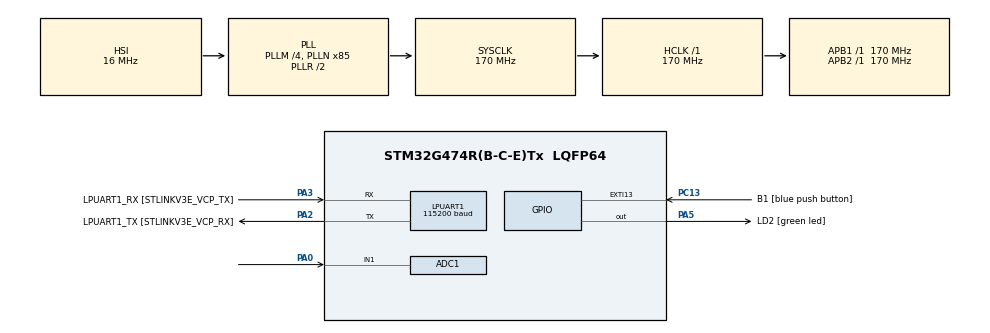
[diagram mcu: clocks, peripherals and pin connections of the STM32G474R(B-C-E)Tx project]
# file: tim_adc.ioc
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ADC1.Channel-0\#ChannelRegularConversion=ADC_CHANNEL_VREFINT
ADC1.Channel-1\#ChannelRegularConversion=ADC_CHANNEL_TEMPSENSOR_ADC1
ADC1.Channel-2\#ChannelRegularConversion=ADC_CHANNEL_1
ADC1.DiscontinuousConvMode=ENABLE
ADC1.EOCSelection=ADC_EOC_SINGLE_CONV
ADC1.ExternalTrigConv=ADC_EXTERNALTRIG_T2_TRGO
ADC1.NbrOfConversion=3
ADC1.NbrOfConversionFlag=1
ADC1.NbrOfDiscConversion=3
ADC1.OffsetNumber-0\#ChannelRegularConversion=ADC_OFFSET_NONE
ADC1.OffsetNumber-1\#ChannelRegularConversion=ADC_OFFSET_NONE
ADC1.OffsetNumber-2\#ChannelRegularConversion=ADC_OFFSET_NONE
ADC1.Rank-0\#ChannelRegularConversion=1
ADC1.Rank-1\#ChannelRegularConversion=2
ADC1.Rank-2\#ChannelRegularConversion=3
ADC1.SamplingTime-0\#ChannelRegularConversion=ADC_SAMPLETIME_6CYCLES_5
ADC1.SamplingTime-1\#ChannelRegularConversion=ADC_SAMPLETIME_2CYCLES_5
ADC1.SamplingTime-2\#ChannelRegularConversion=ADC_SAMPLETIME_2CYCLES_5
ADC1.master=1
LPUART1.BaudRate=115200
LPUART1.WordLength=UART_WORDLENGTH_8B
Mcu.Family=STM32G4
Mcu.Name=STM32G474R(B-C-E)Tx
Mcu.Package=LQFP64
NVIC.ADC1_2_IRQn=true\:0\:0\:false\:false\:true\:true\:true\:true
NVIC.EXTI15_10_IRQn=true\:0\:0\:false\:false\:true\:true\:true\:true
NVIC.PriorityGroup=NVIC_PRIORITYGROUP_4
NVIC.TIM1_UP_TIM16_IRQn=true\:0\:0\:false\:false\:true\:true\:true\:true
NVIC.TIM2_IRQn=true\:0\:0\:false\:false\:true\:true\:true\:true
PA0.Mode=IN1-Single-Ended
PA0.Signal=ADC1_IN1
PA13.GPIO_Label=T_SWDIO
PA13.Mode=Serial_Wire
PA13.Signal=SYS_JTMS-SWDIO
PA14.GPIO_Label=T_SWCLK
PA14.Mode=Serial_Wire
PA14.Signal=SYS_JTCK-SWCLK
PA2.GPIO_Label=LPUART1_TX [STLINKV3E_VCP_RX]
PA2.Mode=Asynchronous
PA2.Signal=LPUART1_TX
PA3.GPIO_Label=LPUART1_RX [STLINKV3E_VCP_TX]
PA3.Mode=Asynchronous
PA3.Signal=LPUART1_RX
PA5.GPIO_Label=LD2 [green led]
PA5.Signal=GPIO_Output
PB3.GPIO_Label=T_SWO
PB3.Signal=SYS_JTDO-SWO
PC13.GPIO_Label=B1 [blue push button]
PC13.Signal=GPXTI13
PC14-OSC32_IN.Mode=LSE-External-Oscillator
PC14-OSC32_IN.Signal=RCC_OSC32_IN
PC15-OSC32_OUT.Mode=LSE-External-Oscillator
PC15-OSC32_OUT.Signal=RCC_OSC32_OUT
PF0-OSC_IN.Mode=HSE-External-Oscillator
PF0-OSC_IN.Signal=RCC_OSC_IN
PF1-OSC_OUT.Mode=HSE-External-Oscillator
PF1-OSC_OUT.Signal=RCC_OSC_OUT
ProjectManager.HeapSize=0x200
ProjectManager.StackSize=0x400
ProjectManager.TargetToolchain=STM32CubeIDE
RCC.ADC12Freq_Value=170000000
RCC.ADC345Freq_Value=170000000
RCC.AHBFreq_Value=170000000
RCC.APB1Freq_Value=170000000
RCC.APB1TimFreq_Value=170000000
RCC.APB2Freq_Value=170000000
RCC.APB2TimFreq_Value=170000000
RCC.CortexFreq_Value=170000000
RCC.EXTERNAL_CLOCK_VALUE=12288000
RCC.HCLKFreq_Value=170000000
RCC.HSE_VALUE=24000000
RCC.HSI48_VALUE=48000000
RCC.HSI_VALUE=16000000
RCC.PLLM=RCC_PLLM_DIV4
RCC.PLLN=85
RCC.RTCClockSelection=RCC_RTCCLKSOURCE_LSE
RCC.SYSCLKFreq_VALUE=170000000
RCC.SYSCLKSource=RCC_SYSCLKSOURCE_PLLCLK
RCC.USBFreq_Value=170000000
RCC.VCOOutputFreq_Value=340000000
TIM1.AutoReloadPreload=TIM_AUTORELOAD_PRELOAD_ENABLE
TIM1.PeriodNoDither=17000
TIM1.Prescaler=10000-1
TIM1.TIM_MasterOutputTrigger=TIM_TRGO_UPDATE
TIM2.AutoReloadPreload=TIM_AUTORELOAD_PRELOAD_ENABLE
TIM2.PeriodNoDither=170000
TIM2.Prescaler=1000-1
TIM2.TIM_MasterOutputTrigger=TIM_TRGO_UPDATE
TIM2.TIM_MasterSlaveMode=TIM_MASTERSLAVEMODE_DISABLE
VP_ADC1_TempSens_Input.Mode=IN-TempSens
VP_ADC1_Vref_Input.Mode=IN-Vrefint
VP_SYS_VS_DBSignals.Mode=DisableDeadBatterySignals
VP_TIM1_VS_ClockSourceINT.Mode=Internal
VP_TIM2_VS_ClockSourceINT.Mode=Internal
board=NUCLEO-G474RE

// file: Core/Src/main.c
/* USER CODE BEGIN Header */
/**
  ******************************************************************************
  * @file           : main.c
  * @brief          : Main program body
  ******************************************************************************
  * @attention
  *
  * Copyright (c) 2023 STMicroelectronics.
  * All rights reserved.
  *
  * This software is licensed under terms that can be found in the LICENSE file
  * in the root directory of this software component.
  * If no LICENSE file comes with this software, it is provided AS-IS.
  *
  ******************************************************************************
  */
/* USER CODE END Header */
#include "main.h"

/* USER CODE BEGIN Includes */
#include <stdio.h>
/* USER CODE END Includes */

ADC_HandleTypeDef hadc1;

UART_HandleTypeDef hlpuart1;

TIM_HandleTypeDef htim1;
TIM_HandleTypeDef htim2;

/* USER CODE BEGIN PV */
char uart_buf[50];
int uart_buf_len;
/* USER CODE END PV */

void SystemClock_Config(void);
static void MX_GPIO_Init(void);
static void MX_LPUART1_UART_Init(void);
static void MX_ADC1_Init(void);
static void MX_TIM2_Init(void);
static void MX_TIM1_Init(void);

int main(void)
{

  /* MCU Configuration--------------------------------------------------------*/

  /* Reset of all peripherals, Initializes the Flash interface and the Systick. */
  HAL_Init();

  /* Configure the system clock */
  SystemClock_Config();

  /* Initialize all configured peripherals */
  MX_GPIO_Init();
  MX_LPUART1_UART_Init();
  MX_ADC1_Init();
  MX_TIM2_Init();
  MX_TIM1_Init();
  /* USER CODE BEGIN 2 */
  HAL_ADC_Start_IT(&hadc1);
  HAL_TIM_Base_Start_IT(&htim2);
  //HAL_TIM_Base_Start_IT(&htim1);
  /* USER CODE END 2 */

  /* Infinite loop */
  while (1)
  {

  }
}

void SystemClock_Config(void)
{
  RCC_OscInitTypeDef RCC_OscInitStruct = {0};
  RCC_ClkInitTypeDef RCC_ClkInitStruct = {0};

  /** Configure the main internal regulator output voltage
  */
  HAL_PWREx_ControlVoltageScaling(PWR_REGULATOR_VOLTAGE_SCALE1_BOOST);

  /** Initializes the RCC Oscillators according to the specified parameters
  * in the RCC_OscInitTypeDef structure.
  */
  RCC_OscInitStruct.OscillatorType = RCC_OSCILLATORTYPE_HSI;
  RCC_OscInitStruct.HSIState = RCC_HSI_ON;
  RCC_OscInitStruct.HSICalibrationValue = RCC_HSICALIBRATION_DEFAULT;
  RCC_OscInitStruct.PLL.PLLState = RCC_PLL_ON;
  RCC_OscInitStruct.PLL.PLLSource = RCC_PLLSOURCE_HSI;
  RCC_OscInitStruct.PLL.PLLM = RCC_PLLM_DIV4;
  RCC_OscInitStruct.PLL.PLLN = 85;
  RCC_OscInitStruct.PLL.PLLP = RCC_PLLP_DIV2;
  RCC_OscInitStruct.PLL.PLLQ = RCC_PLLQ_DIV2;
  RCC_OscInitStruct.PLL.PLLR = RCC_PLLR_DIV2;
  if (HAL_RCC_OscConfig(&RCC_OscInitStruct) != HAL_OK)
  {
    Error_Handler();
  }

  /** Initializes the CPU, AHB and APB buses clocks
  */
  RCC_ClkInitStruct.ClockType = RCC_CLOCKTYPE_HCLK|RCC_CLOCKTYPE_SYSCLK
                              |RCC_CLOCKTYPE_PCLK1|RCC_CLOCKTYPE_PCLK2;
  RCC_ClkInitStruct.SYSCLKSource = RCC_SYSCLKSOURCE_PLLCLK;
  RCC_ClkInitStruct.AHBCLKDivider = RCC_SYSCLK_DIV1;
  RCC_ClkInitStruct.APB1CLKDivider = RCC_HCLK_DIV1;
  RCC_ClkInitStruct.APB2CLKDivider = RCC_HCLK_DIV1;

  if (HAL_RCC_ClockConfig(&RCC_ClkInitStruct, FLASH_LATENCY_4) != HAL_OK)
  {
    Error_Handler();
  }
}

static void MX_ADC1_Init(void)
{

  ADC_MultiModeTypeDef multimode = {0};
  ADC_ChannelConfTypeDef sConfig = {0};

  /** Common config
  */
  hadc1.Instance = ADC1;
  hadc1.Init.ClockPrescaler = ADC_CLOCK_SYNC_PCLK_DIV4;
  hadc1.Init.Resolution = ADC_RESOLUTION_12B;
  hadc1.Init.DataAlign = ADC_DATAALIGN_RIGHT;
  hadc1.Init.GainCompensation = 0;
  hadc1.Init.ScanConvMode = ADC_SCAN_ENABLE;
  hadc1.Init.EOCSelection = ADC_EOC_SINGLE_CONV;
  hadc1.Init.LowPowerAutoWait = DISABLE;
  hadc1.Init.ContinuousConvMode = DISABLE;
  hadc1.Init.NbrOfConversion = 3;
  hadc1.Init.DiscontinuousConvMode = ENABLE;
  hadc1.Init.NbrOfDiscConversion = 3;
  hadc1.Init.ExternalTrigConv = ADC_EXTERNALTRIG_T2_TRGO;
  hadc1.Init.ExternalTrigConvEdge = ADC_EXTERNALTRIGCONVEDGE_RISING;
  hadc1.Init.DMAContinuousRequests = DISABLE;
  hadc1.Init.Overrun = ADC_OVR_DATA_PRESERVED;
  hadc1.Init.OversamplingMode = DISABLE;
  if (HAL_ADC_Init(&hadc1) != HAL_OK)
  {
    Error_Handler();
  }

  /** Configure the ADC multi-mode
  */
  multimode.Mode = ADC_MODE_INDEPENDENT;
  if (HAL_ADCEx_MultiModeConfigChannel(&hadc1, &multimode) != HAL_OK)
  {
    Error_Handler();
  }

  /** Configure Regular Channel
  */
  sConfig.Channel = ADC_CHANNEL_VREFINT;
  sConfig.Rank = ADC_REGULAR_RANK_1;
  sConfig.SamplingTime = ADC_SAMPLETIME_6CYCLES_5;
  sConfig.SingleDiff = ADC_SINGLE_ENDED;
  sConfig.OffsetNumber = ADC_OFFSET_NONE;
  sConfig.Offset = 0;
  if (HAL_ADC_ConfigChannel(&hadc1, &sConfig) != HAL_OK)
  {
    Error_Handler();
  }

  /** Configure Regular Channel
  */
  sConfig.Channel = ADC_CHANNEL_TEMPSENSOR_ADC1;
  sConfig.Rank = ADC_REGULAR_RANK_2;
  sConfig.SamplingTime = ADC_SAMPLETIME_2CYCLES_5;
  if (HAL_ADC_ConfigChannel(&hadc1, &sConfig) != HAL_OK)
  {
    Error_Handler();
  }

  /** Configure Regular Channel
  */
  sConfig.Channel = ADC_CHANNEL_1;
  sConfig.Rank = ADC_REGULAR_RANK_3;
  if (HAL_ADC_ConfigChannel(&hadc1, &sConfig) != HAL_OK)
  {
    Error_Handler();
  }

}

static void MX_LPUART1_UART_Init(void)
{

  hlpuart1.Instance = LPUART1;
  hlpuart1.Init.BaudRate = 115200;
  hlpuart1.Init.WordLength = UART_WORDLENGTH_8B;
  hlpuart1.Init.StopBits = UART_STOPBITS_1;
  hlpuart1.Init.Parity = UART_PARITY_NONE;
  hlpuart1.Init.Mode = UART_MODE_TX_RX;
  hlpuart1.Init.HwFlowCtl = UART_HWCONTROL_NONE;
  hlpuart1.Init.OneBitSampling = UART_ONE_BIT_SAMPLE_DISABLE;
  hlpuart1.Init.ClockPrescaler = UART_PRESCALER_DIV1;
  hlpuart1.AdvancedInit.AdvFeatureInit = UART_ADVFEATURE_NO_INIT;
  if (HAL_UART_Init(&hlpuart1) != HAL_OK)
  {
    Error_Handler();
  }
  if (HAL_UARTEx_SetTxFifoThreshold(&hlpuart1, UART_TXFIFO_THRESHOLD_1_8) != HAL_OK)
  {
    Error_Handler();
  }
  if (HAL_UARTEx_SetRxFifoThreshold(&hlpuart1, UART_RXFIFO_THRESHOLD_1_8) != HAL_OK)
  {
    Error_Handler();
  }
  if (HAL_UARTEx_DisableFifoMode(&hlpuart1) != HAL_OK)
  {
    Error_Handler();
  }

}

static void MX_TIM1_Init(void)
{

  TIM_ClockConfigTypeDef sClockSourceConfig = {0};
  TIM_MasterConfigTypeDef sMasterConfig = {0};

  htim1.Instance = TIM1;
  htim1.Init.Prescaler = 10000-1;
  htim1.Init.CounterMode = TIM_COUNTERMODE_UP;
  htim1.Init.Period = 17000;
  htim1.Init.ClockDivision = TIM_CLOCKDIVISION_DIV1;
  htim1.Init.RepetitionCounter = 0;
  htim1.Init.AutoReloadPreload = TIM_AUTORELOAD_PRELOAD_ENABLE;
  if (HAL_TIM_Base_Init(&htim1) != HAL_OK)
  {
    Error_Handler();
  }
  sClockSourceConfig.ClockSource = TIM_CLOCKSOURCE_INTERNAL;
  if (HAL_TIM_ConfigClockSource(&htim1, &sClockSourceConfig) != HAL_OK)
  {
    Error_Handler();
  }
  sMasterConfig.MasterOutputTrigger = TIM_TRGO_UPDATE;
  sMasterConfig.MasterOutputTrigger2 = TIM_TRGO2_RESET;
  sMasterConfig.MasterSlaveMode = TIM_MASTERSLAVEMODE_DISABLE;
  if (HAL_TIMEx_MasterConfigSynchronization(&htim1, &sMasterConfig) != HAL_OK)
  {
    Error_Handler();
  }

}

static void MX_TIM2_Init(void)
{

  TIM_ClockConfigTypeDef sClockSourceConfig = {0};
  TIM_MasterConfigTypeDef sMasterConfig = {0};

  htim2.Instance = TIM2;
  htim2.Init.Prescaler = 1000-1;
  htim2.Init.CounterMode = TIM_COUNTERMODE_UP;
  htim2.Init.Period = 170000;
  htim2.Init.ClockDivision = TIM_CLOCKDIVISION_DIV1;
  htim2.Init.AutoReloadPreload = TIM_AUTORELOAD_PRELOAD_ENABLE;
  if (HAL_TIM_Base_Init(&htim2) != HAL_OK)
  {
    Error_Handler();
  }
  sClockSourceConfig.ClockSource = TIM_CLOCKSOURCE_INTERNAL;
  if (HAL_TIM_ConfigClockSource(&htim2, &sClockSourceConfig) != HAL_OK)
  {
    Error_Handler();
  }
  sMasterConfig.MasterOutputTrigger = TIM_TRGO_UPDATE;
  sMasterConfig.MasterSlaveMode = TIM_MASTERSLAVEMODE_DISABLE;
  if (HAL_TIMEx_MasterConfigSynchronization(&htim2, &sMasterConfig) != HAL_OK)
  {
    Error_Handler();
  }

}

static void MX_GPIO_Init(void)
{
  GPIO_InitTypeDef GPIO_InitStruct = {0};

  /* GPIO Ports Clock Enable */
  __HAL_RCC_GPIOC_CLK_ENABLE();
  __HAL_RCC_GPIOF_CLK_ENABLE();
  __HAL_RCC_GPIOA_CLK_ENABLE();
  __HAL_RCC_GPIOB_CLK_ENABLE();

  /*Configure GPIO pin Output Level */
  HAL_GPIO_WritePin(LD2_GPIO_Port, LD2_Pin, GPIO_PIN_RESET);

  /*Configure GPIO pin : B1_Pin */
  GPIO_InitStruct.Pin = B1_Pin;
  GPIO_InitStruct.Mode = GPIO_MODE_IT_RISING;
  GPIO_InitStruct.Pull = GPIO_NOPULL;
  HAL_GPIO_Init(B1_GPIO_Port, &GPIO_InitStruct);

  /*Configure GPIO pin : LD2_Pin */
  GPIO_InitStruct.Pin = LD2_Pin;
  GPIO_InitStruct.Mode = GPIO_MODE_OUTPUT_PP;
  GPIO_InitStruct.Pull = GPIO_NOPULL;
  GPIO_InitStruct.Speed = GPIO_SPEED_FREQ_LOW;
  HAL_GPIO_Init(LD2_GPIO_Port, &GPIO_InitStruct);

  /* EXTI interrupt init*/
  HAL_NVIC_SetPriority(EXTI15_10_IRQn, 0, 0);
  HAL_NVIC_EnableIRQ(EXTI15_10_IRQn);

}

/* USER CODE BEGIN 4 */
void HAL_TIM_PeriodElapsedCallback(TIM_HandleTypeDef *htim)
{
  // Check which version of the timer triggered this callback and toggle LED
  if (htim == &htim2 )
  {
	  uart_buf_len = sprintf(uart_buf, "Timer 2 Event\r\n");
	  HAL_UART_Transmit(&hlpuart1, (uint8_t *)uart_buf, uart_buf_len, 100);
  }
  if (htim == &htim1 )
    {
  	  uart_buf_len = sprintf(uart_buf, "Timer 1 Event\r\n");
  	  HAL_UART_Transmit(&hlpuart1, (uint8_t *)uart_buf, uart_buf_len, 100);
    }
}

void HAL_ADCEx_EndOfSamplingCallback(ADC_HandleTypeDef *hadc)
{
	if (hadc == &hadc1)
	{
		uart_buf_len = sprintf(uart_buf, "Adc End Of Sampling Event\r\n");
		HAL_UART_Transmit(&hlpuart1, (uint8_t *)uart_buf, uart_buf_len, 100);
	}
}

void HAL_ADC_ConvCpltCallback(ADC_HandleTypeDef *hadc)
{
  	if (hadc == &hadc1)
  	{
  		uart_buf_len = sprintf(uart_buf, "Adc Conv Complete Event\r\n");
  		HAL_UART_Transmit(&hlpuart1, (uint8_t *)uart_buf, uart_buf_len, 100);
  		uart_buf_len = sprintf(uart_buf, "Readed value: %ld\r\n", HAL_ADC_GetValue(&hadc1));
  		HAL_UART_Transmit(&hlpuart1, (uint8_t *)uart_buf, uart_buf_len, 100);
  		uart_buf_len = sprintf(uart_buf, "Readed value: %ld\r\n", HAL_ADC_GetValue(&hadc1));
  		HAL_UART_Transmit(&hlpuart1, (uint8_t *)uart_buf, uart_buf_len, 100);
  		uart_buf_len = sprintf(uart_buf, "Readed value: %ld\r\n", HAL_ADC_GetValue(&hadc1));
  		HAL_UART_Transmit(&hlpuart1, (uint8_t *)uart_buf, uart_buf_len, 100);
  	}
}
/* USER CODE END 4 */

void Error_Handler(void)
{
  __disable_irq();
  while (1)
  {
  }
}
